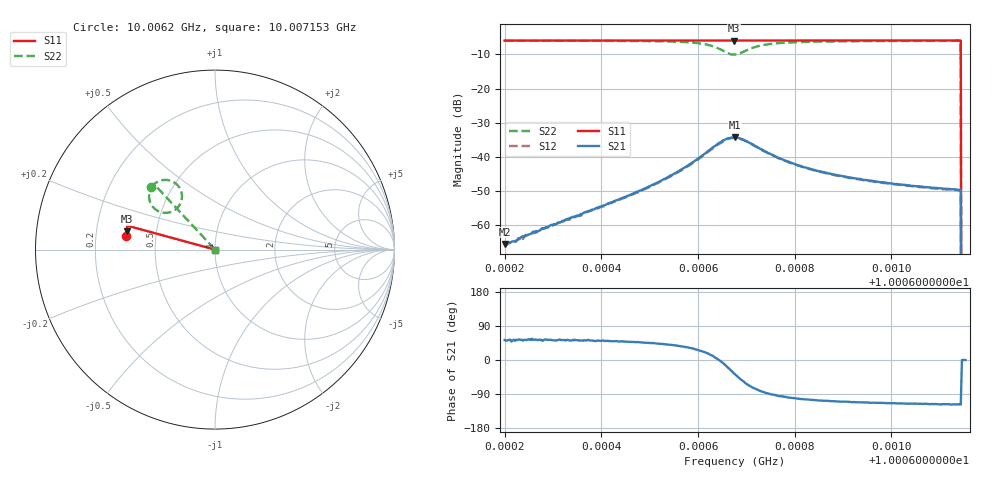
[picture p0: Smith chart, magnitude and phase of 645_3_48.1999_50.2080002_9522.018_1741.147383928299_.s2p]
#  HZ  S  RI  R  50.00
! Rohde & Schwarz Vector Network Analyzer
! Rohde-Schwarz,ZNB20-2Port,1311601062101988,3.16
! Created: UTC 3/20/2024, 12:04:59 PM
! freq[Hz]  re:S11  im:S11  re:S21  im:S21  re:S12  im:S12  re:S22  im:S22
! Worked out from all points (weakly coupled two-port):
!   401 points, 10.0062 GHz to 10.007153 GHz, reference 50 ohm
!   highest |S21| = -34.24 dB at 10.006676 GHz (marker M1); lowest = -65.4 dB at 10.0062 GHz (marker M2)
!   lowest |S11| = -6.0 dB at 10.006674 GHz (marker M3), VSWR 3.02, Z = 16.7 + j4.6 ohm
!   |S11| at or under -10 dB: 10.007144 GHz to end of sweep
!   |S22| runs from - to -6.0 dB; largest |S21 - S12| = 0.0015
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1.00061998e10  -0.4982 0.0731  0.000325 0.000425  0.000285 0.000407  -0.3569 0.3492
1.00062093e10  -0.4981 0.0739  0.000331 0.000438  0.000311 0.000477  -0.3562 0.35
1.00062236e10  -0.4979 0.0747  0.000355 0.000482  0.000317 0.000483  -0.3551 0.3511
1.00062379e10  -0.4979 0.0756  0.000438 0.00054  0.000354 0.000525  -0.354 0.3523
1.00062737e10  -0.4976 0.0779  0.000516 0.000674  0.000477 0.0007  -0.3511 0.355
1.00063595e10  -0.4968 0.0836  0.000894 0.00113  0.000822 0.00116  -0.3426 0.3628
1.00064548e10  -0.4958 0.0898  0.00182 0.00203  0.00168 0.00208  -0.3281 0.3732
1.00065191e10  -0.4951 0.0941  0.00316 0.00295  0.00297 0.00308  -0.3102 0.382
1.00065716e10  -0.4943 0.0977  0.00572 0.00398  0.00538 0.00413  -0.2817 0.3883
1.00066192e10  -0.4933 0.1008  0.0114 0.00371  0.0109 0.00413  -0.2271 0.3741
1.0006655e10  -0.4921 0.1026  0.0174 -0.00358  0.0172 -0.00253  -0.1839 0.295
1.0006674e10  -0.4917 0.1029  0.0158 -0.0111  0.0162 -0.00968  -0.2126 0.2299
1.00066764e10  -0.4919 0.103  0.0154 -0.0119  0.0158 -0.0105  -0.2196 0.2237
1.00066979e10  -0.4921 0.1038  0.00838 -0.0151  0.00942 -0.0143  -0.2909 0.206
1.00067312e10  -0.4926 0.1062  0.00154 -0.0128  0.00229 -0.0126  -0.3514 0.2449
1.00067718e10  -0.4924 0.1089  -0.000886 -0.00926  -0.000481 -0.00917  -0.3666 0.286
1.00068361e10  -0.4917 0.1133  -0.00173 -0.00638  -0.00141 -0.00633  -0.3643 0.3192
1.00069147e10  -0.4907 0.1184  -0.00177 -0.00468  -0.00152 -0.00469  -0.3572 0.3388
1.00069958e10  -0.4897 0.1238  -0.00167 -0.00379  -0.00148 -0.00381  -0.3504 0.3508
1.00071387e10  -0.4876 0.1327  -0.00148 -0.00296  -0.00136 -0.00296  -0.3403 0.3647
1.00071507e10  0 0  0 0  0 0  0 0
1.0007153e10  0 0  0 0  0 0  0 0
